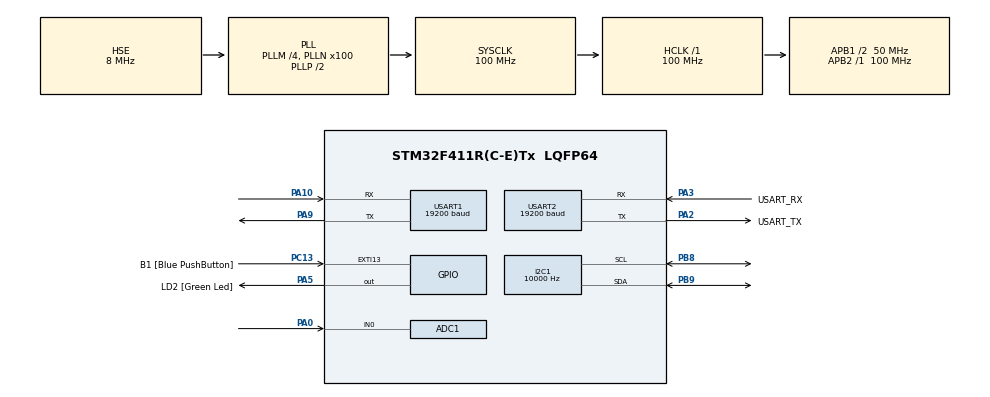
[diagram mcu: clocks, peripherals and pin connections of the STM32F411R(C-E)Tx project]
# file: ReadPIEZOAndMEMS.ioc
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ADC1.Channel-0\#ChannelRegularConversion=ADC_CHANNEL_0
ADC1.ContinuousConvMode=ENABLE
ADC1.DMAContinuousRequests=ENABLE
ADC1.ExternalTrigConv=ADC_EXTERNALTRIGCONV_T2_TRGO
ADC1.NbrOfConversionFlag=1
ADC1.Rank-0\#ChannelRegularConversion=1
ADC1.SamplingTime-0\#ChannelRegularConversion=ADC_SAMPLETIME_3CYCLES
ADC1.ScanConvMode=ENABLE
ADC1.master=1
ARM.CMSIS-DSP.1.15.0.CMSISJjDSP=Source
ARM.CMSIS.6.0.0.CMSISJjCORE=true
Dma.ADC1.0.Direction=DMA_PERIPH_TO_MEMORY
Dma.ADC1.0.FIFOMode=DMA_FIFOMODE_DISABLE
Dma.ADC1.0.Instance=DMA2_Stream0
Dma.ADC1.0.MemDataAlignment=DMA_MDATAALIGN_HALFWORD
Dma.ADC1.0.MemInc=DMA_MINC_ENABLE
Dma.ADC1.0.Mode=DMA_CIRCULAR
Dma.ADC1.0.PeriphDataAlignment=DMA_PDATAALIGN_HALFWORD
Dma.ADC1.0.PeriphInc=DMA_PINC_DISABLE
Dma.ADC1.0.Priority=DMA_PRIORITY_LOW
Dma.Request0=ADC1
Dma.Request1=USART1_TX
Dma.Request2=USART2_TX
Dma.Request3=USART2_RX
Dma.USART1_TX.1.Direction=DMA_MEMORY_TO_PERIPH
Dma.USART1_TX.1.FIFOMode=DMA_FIFOMODE_DISABLE
Dma.USART1_TX.1.Instance=DMA2_Stream7
Dma.USART1_TX.1.MemDataAlignment=DMA_MDATAALIGN_BYTE
Dma.USART1_TX.1.MemInc=DMA_MINC_ENABLE
Dma.USART1_TX.1.Mode=DMA_NORMAL
Dma.USART1_TX.1.PeriphDataAlignment=DMA_PDATAALIGN_BYTE
Dma.USART1_TX.1.PeriphInc=DMA_PINC_DISABLE
Dma.USART1_TX.1.Priority=DMA_PRIORITY_LOW
Dma.USART2_RX.3.Direction=DMA_PERIPH_TO_MEMORY
Dma.USART2_RX.3.FIFOMode=DMA_FIFOMODE_DISABLE
Dma.USART2_RX.3.Instance=DMA1_Stream5
Dma.USART2_RX.3.MemDataAlignment=DMA_MDATAALIGN_BYTE
Dma.USART2_RX.3.MemInc=DMA_MINC_ENABLE
Dma.USART2_RX.3.Mode=DMA_NORMAL
Dma.USART2_RX.3.PeriphDataAlignment=DMA_PDATAALIGN_BYTE
Dma.USART2_RX.3.PeriphInc=DMA_PINC_DISABLE
Dma.USART2_RX.3.Priority=DMA_PRIORITY_LOW
Dma.USART2_TX.2.Direction=DMA_MEMORY_TO_PERIPH
Dma.USART2_TX.2.FIFOMode=DMA_FIFOMODE_DISABLE
Dma.USART2_TX.2.Instance=DMA1_Stream6
Dma.USART2_TX.2.MemDataAlignment=DMA_MDATAALIGN_BYTE
Dma.USART2_TX.2.MemInc=DMA_MINC_ENABLE
Dma.USART2_TX.2.Mode=DMA_NORMAL
Dma.USART2_TX.2.PeriphDataAlignment=DMA_PDATAALIGN_BYTE
Dma.USART2_TX.2.PeriphInc=DMA_PINC_DISABLE
Dma.USART2_TX.2.Priority=DMA_PRIORITY_LOW
I2C1.ClockSpeed=10000
Mcu.Family=STM32F4
Mcu.Name=STM32F411R(C-E)Tx
Mcu.Package=LQFP64
NVIC.DMA1_Stream5_IRQn=true\:0\:0\:false\:false\:true\:false\:true\:true
NVIC.DMA1_Stream6_IRQn=true\:0\:0\:false\:false\:true\:false\:true\:true
NVIC.DMA2_Stream0_IRQn=true\:0\:0\:false\:false\:true\:false\:true\:true
NVIC.DMA2_Stream7_IRQn=true\:0\:0\:false\:false\:true\:false\:true\:true
NVIC.I2C1_ER_IRQn=true\:0\:0\:false\:false\:true\:true\:true\:true
NVIC.I2C1_EV_IRQn=true\:0\:0\:false\:false\:true\:true\:true\:true
NVIC.PriorityGroup=NVIC_PRIORITYGROUP_0
NVIC.TIM1_TRG_COM_TIM11_IRQn=true\:0\:0\:false\:false\:true\:true\:true\:true
NVIC.TIM2_IRQn=true\:0\:0\:false\:false\:true\:true\:true\:true
NVIC.USART1_IRQn=true\:0\:0\:false\:false\:true\:true\:true\:true
NVIC.USART2_IRQn=true\:0\:0\:false\:false\:true\:true\:true\:true
PA0-WKUP.Signal=ADCx_IN0
PA10.Mode=Asynchronous
PA10.Signal=USART1_RX
PA13.GPIO_Label=TMS
PA13.Mode=Serial_Wire
PA13.Signal=SYS_JTMS-SWDIO
PA14.GPIO_Label=TCK
PA14.Mode=Serial_Wire
PA14.Signal=SYS_JTCK-SWCLK
PA2.GPIO_Label=USART_TX
PA2.Mode=Asynchronous
PA2.Signal=USART2_TX
PA3.GPIO_Label=USART_RX
PA3.Mode=Asynchronous
PA3.Signal=USART2_RX
PA5.GPIO_Label=LD2 [Green Led]
PA5.Signal=GPIO_Output
PA9.Mode=Asynchronous
PA9.Signal=USART1_TX
PB3.GPIO_Label=SWO
PB3.Signal=SYS_JTDO-SWO
PB8.Mode=I2C
PB8.Signal=I2C1_SCL
PB9.Mode=I2C
PB9.Signal=I2C1_SDA
PC13-ANTI_TAMP.GPIO_Label=B1 [Blue PushButton]
PC13-ANTI_TAMP.GPIO_ModeDefaultEXTI=GPIO_MODE_IT_FALLING
PC13-ANTI_TAMP.Signal=GPXTI13
PC14-OSC32_IN.Mode=LSE-External-Oscillator
PC14-OSC32_IN.Signal=RCC_OSC32_IN
PC15-OSC32_OUT.Mode=LSE-External-Oscillator
PC15-OSC32_OUT.Signal=RCC_OSC32_OUT
PH0\ -\ OSC_IN.Mode=HSE-External-Clock-Source
PH0\ -\ OSC_IN.Signal=RCC_OSC_IN
PH1\ -\ OSC_OUT.Mode=HSE-External-Clock-Source
PH1\ -\ OSC_OUT.Signal=RCC_OSC_OUT
ProjectManager.HeapSize=0x200
ProjectManager.StackSize=0x400
ProjectManager.TargetToolchain=STM32CubeIDE
RCC.48MHZClocksFreq_Value=50000000
RCC.AHBFreq_Value=100000000
RCC.APB1CLKDivider=RCC_HCLK_DIV2
RCC.APB1Freq_Value=50000000
RCC.APB1TimFreq_Value=100000000
RCC.APB2Freq_Value=100000000
RCC.APB2TimFreq_Value=100000000
RCC.CortexFreq_Value=100000000
RCC.FLatency-AdvancedSettings=FLASH_LATENCY_3
RCC.HCLKFreq_Value=100000000
RCC.HSE_VALUE=8000000
RCC.HSI_VALUE=16000000
RCC.PLLM=4
RCC.PLLN=100
RCC.PLLSourceVirtual=RCC_PLLSOURCE_HSE
RCC.SYSCLKFreq_VALUE=100000000
RCC.SYSCLKSource=RCC_SYSCLKSOURCE_PLLCLK
RCC.VCOOutputFreq_Value=200000000
SH.ADCx_IN0.0=ADC1_IN0,IN0
TIM11.Channel=TIM_CHANNEL_1
TIM11.OCMode_1=TIM_OCMODE_ACTIVE
TIM11.Period=2005
TIM11.Prescaler=99
TIM11.Pulse=1433
TIM2.Period=1000
TIM2.Prescaler=99
TIM2.TIM_MasterOutputTrigger=TIM_TRGO_UPDATE
TIM3.Period=65535
TIM3.Prescaler=0
TIM3.TIM_MasterOutputTrigger=TIM_TRGO_UPDATE
USART1.BaudRate=19200
USART1.VirtualMode=VM_ASYNC
USART2.BaudRate=19200
USART2.VirtualMode=VM_ASYNC
VP_ARM.CMSIS-DSP_VS_CMSISJjDSP_1.15.0_1.15.0.Mode=CMSISJjDSP
VP_ARM.CMSIS_VS_CMSISJjCORE_6.0.0_6.0.0.Mode=CMSISJjCORE
VP_TIM11_VS_ClockSourceINT.Mode=Enable_Timer
VP_TIM11_VS_OPM.Mode=OPM_bit
VP_TIM11_VS_no_output1.Mode=Output Compare1 No Output
VP_TIM2_VS_ClockSourceINT.Mode=Internal
VP_TIM3_VS_ClockSourceINT.Mode=Internal
board=NUCLEO-F411RE

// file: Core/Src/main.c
/* USER CODE BEGIN Header */
/**
 ******************************************************************************
 * @file           : main.c
 * @brief          : Main program body
 ******************************************************************************
 * @attention
 *
 * Copyright (c) 2024 STMicroelectronics.
 * All rights reserved.
 *
 * This software is licensed under terms that can be found in the LICENSE file
 * in the root directory of this software component.
 * If no LICENSE file comes with this software, it is provided AS-IS.
 *
 ******************************************************************************
 */
/* USER CODE END Header */
#include "main.h"

/* USER CODE BEGIN Includes */
#include "arm_math.h"
#include "stdio.h"
#include "ModBusRTU.h"
//#include "ModBusRTU.h"
/* USER CODE END Includes */

ADC_HandleTypeDef hadc1;
DMA_HandleTypeDef hdma_adc1;

I2C_HandleTypeDef hi2c1;

TIM_HandleTypeDef htim2;
TIM_HandleTypeDef htim3;
TIM_HandleTypeDef htim11;

UART_HandleTypeDef huart1;
UART_HandleTypeDef huart2;
DMA_HandleTypeDef hdma_usart1_tx;
DMA_HandleTypeDef hdma_usart2_tx;
DMA_HandleTypeDef hdma_usart2_rx;

/* USER CODE BEGIN PV */

// ModbusRTU
ModbusHandleTypedef hmodbus;
u16u8_t registerFrame[200];

// FFT
#define FFT_SIZE 4096
uint16_t buffer_input[FFT_SIZE * 2];
uint16_t Buffer_index = 0;
float rfft_signal[FFT_SIZE * 2];
float magnitude_signal[FFT_SIZE];
float maxValue = 0;
float freq = 0;
uint32_t maxIndex;

uint8_t flag = 0;

//arm_rfft_fast_instance_f32 fftConfig;
arm_rfft_instance_q15 fftConfig;
arm_rfft_fast_instance_f32 fft;

// Read Data from Piezo
typedef struct {
	ADC_ChannelConfTypeDef Config;
	float32_t data;
} ADCStrcuture;
ADCStrcuture ADCChannel[1];

// I2C for read ADXL346
#define ADXL346_ADDR 0x53

uint8_t buf[6];
static uint8_t sdata[1] = { 0x08 };
float acceleration_x;
float acceleration_y;
float acceleration_z;

//static uint16_t offsetdata[1] = {0xFFC6};
uint8_t ADXL_Add = 0b10100110;
uint8_t dataReadAcc = 0;

/* USER CODE END PV */

void SystemClock_Config(void);
static void MX_GPIO_Init(void);
static void MX_DMA_Init(void);
static void MX_ADC1_Init(void);
static void MX_I2C1_Init(void);
static void MX_TIM3_Init(void);
static void MX_TIM11_Init(void);
static void MX_TIM2_Init(void);
static void MX_USART1_UART_Init(void);
static void MX_USART2_UART_Init(void);
/* USER CODE BEGIN PFP */
void requestMEMS(uint8_t *Rdata, uint16_t len, uint8_t regAdd);

/* USER CODE END PFP */

int main(void)
{

  /* MCU Configuration--------------------------------------------------------*/

  /* Reset of all peripherals, Initializes the Flash interface and the Systick. */
  HAL_Init();

  /* Configure the system clock */
  SystemClock_Config();

  /* Initialize all configured peripherals */
  MX_GPIO_Init();
  MX_DMA_Init();
  MX_ADC1_Init();
  MX_I2C1_Init();
  MX_TIM3_Init();
  MX_TIM11_Init();
  MX_TIM2_Init();
  MX_USART1_UART_Init();
  MX_USART2_UART_Init();
  /* USER CODE BEGIN 2 */

	// Modbus Initial
	hmodbus.huart = &huart2;
	hmodbus.htim = &htim11;
	hmodbus.slaveAddress = 0x01;
	hmodbus.RegisterSize = 200;
	Modbus_init(&hmodbus, registerFrame);

	arm_rfft_init_q15(&fftConfig, FFT_SIZE, 0, 0);
	arm_rfft_fast_init_f32(&fft, FFT_SIZE);
	HAL_ADC_Start_DMA(&hadc1, (uint32_t*) buffer_input, FFT_SIZE * 2);
	HAL_TIM_Base_Start(&htim3);
	HAL_TIM_Base_Start(&htim2);
	HAL_UART_Init(&huart1);
  /* USER CODE END 2 */

  /* Infinite loop */
	while (1) {

    /* USER CODE BEGIN 3 */
		// Modbus
		Modbus_Protocal_Worker();

		// Read ADC Polling (TEST PIEZO)
		uint32_t Tim = HAL_GetTick();
		static uint32_t tick = 1;
		if (Tim > tick) {

			// ADXL
			HAL_I2C_Mem_Write(&hi2c1, ADXL346_ADDR << 1, 0x2D,
			I2C_MEMADD_SIZE_8BIT, (uint8_t*) "\x08", 1, HAL_MAX_DELAY);

			HAL_I2C_Mem_Read(&hi2c1, ADXL346_ADDR << 1, 0x32,
			I2C_MEMADD_SIZE_8BIT, buf, 6, HAL_MAX_DELAY);

			int16_t x = (buf[1] << 8) | buf[0];
			int16_t y = (buf[3] << 8) | buf[2];
			int16_t z = (buf[5] << 8) | buf[4];

			acceleration_x = x * 0.00390625;
			acceleration_y = y * 0.00390625;
			acceleration_z = z * 0.00390625;
//			requestMEMS(dataReadAcc[1], 3, 0x34);
//			requestMEMS(dataReadAcc, 3, 0x36);

// FFT
			if (flag == 2) {
				static float stackPIEZO[FFT_SIZE];

				for (int i = 0; i < FFT_SIZE; i++) {
					stackPIEZO[i] = (buffer_input[i] - (FFT_SIZE * 2)) * 1.0;
				}

				arm_rfft_fast_f32(&fft, stackPIEZO, rfft_signal, 0);
				arm_cmplx_mag_f32(rfft_signal, magnitude_signal,
				FFT_SIZE / 2);
				arm_max_f32(magnitude_signal + 1, ((FFT_SIZE / 2) - 1),
						&maxValue, &maxIndex);
				freq = ((maxIndex) * (1000.0 / 4096.0));
				flag = 0;
			}

			tick = Tim + 10;
		}
	}
  /* USER CODE END 3 */
}

void SystemClock_Config(void)
{
  RCC_OscInitTypeDef RCC_OscInitStruct = {0};
  RCC_ClkInitTypeDef RCC_ClkInitStruct = {0};

  /** Configure the main internal regulator output voltage
  */
  __HAL_RCC_PWR_CLK_ENABLE();
  __HAL_PWR_VOLTAGESCALING_CONFIG(PWR_REGULATOR_VOLTAGE_SCALE1);

  /** Initializes the RCC Oscillators according to the specified parameters
  * in the RCC_OscInitTypeDef structure.
  */
  RCC_OscInitStruct.OscillatorType = RCC_OSCILLATORTYPE_HSE;
  RCC_OscInitStruct.HSEState = RCC_HSE_BYPASS;
  RCC_OscInitStruct.PLL.PLLState = RCC_PLL_ON;
  RCC_OscInitStruct.PLL.PLLSource = RCC_PLLSOURCE_HSE;
  RCC_OscInitStruct.PLL.PLLM = 4;
  RCC_OscInitStruct.PLL.PLLN = 100;
  RCC_OscInitStruct.PLL.PLLP = RCC_PLLP_DIV2;
  RCC_OscInitStruct.PLL.PLLQ = 4;
  if (HAL_RCC_OscConfig(&RCC_OscInitStruct) != HAL_OK)
  {
    Error_Handler();
  }

  /** Initializes the CPU, AHB and APB buses clocks
  */
  RCC_ClkInitStruct.ClockType = RCC_CLOCKTYPE_HCLK|RCC_CLOCKTYPE_SYSCLK
                              |RCC_CLOCKTYPE_PCLK1|RCC_CLOCKTYPE_PCLK2;
  RCC_ClkInitStruct.SYSCLKSource = RCC_SYSCLKSOURCE_PLLCLK;
  RCC_ClkInitStruct.AHBCLKDivider = RCC_SYSCLK_DIV1;
  RCC_ClkInitStruct.APB1CLKDivider = RCC_HCLK_DIV2;
  RCC_ClkInitStruct.APB2CLKDivider = RCC_HCLK_DIV1;

  if (HAL_RCC_ClockConfig(&RCC_ClkInitStruct, FLASH_LATENCY_3) != HAL_OK)
  {
    Error_Handler();
  }
}

static void MX_ADC1_Init(void)
{

  ADC_ChannelConfTypeDef sConfig = {0};

  /** Configure the global features of the ADC (Clock, Resolution, Data Alignment and number of conversion)
  */
  hadc1.Instance = ADC1;
  hadc1.Init.ClockPrescaler = ADC_CLOCK_SYNC_PCLK_DIV4;
  hadc1.Init.Resolution = ADC_RESOLUTION_12B;
  hadc1.Init.ScanConvMode = ENABLE;
  hadc1.Init.ContinuousConvMode = ENABLE;
  hadc1.Init.DiscontinuousConvMode = DISABLE;
  hadc1.Init.ExternalTrigConvEdge = ADC_EXTERNALTRIGCONVEDGE_RISING;
  hadc1.Init.ExternalTrigConv = ADC_EXTERNALTRIGCONV_T2_TRGO;
  hadc1.Init.DataAlign = ADC_DATAALIGN_RIGHT;
  hadc1.Init.NbrOfConversion = 1;
  hadc1.Init.DMAContinuousRequests = ENABLE;
  hadc1.Init.EOCSelection = ADC_EOC_SINGLE_CONV;
  if (HAL_ADC_Init(&hadc1) != HAL_OK)
  {
    Error_Handler();
  }

  /** Configure for the selected ADC regular channel its corresponding rank in the sequencer and its sample time.
  */
  sConfig.Channel = ADC_CHANNEL_0;
  sConfig.Rank = 1;
  sConfig.SamplingTime = ADC_SAMPLETIME_3CYCLES;
  if (HAL_ADC_ConfigChannel(&hadc1, &sConfig) != HAL_OK)
  {
    Error_Handler();
  }

}

static void MX_I2C1_Init(void)
{

  hi2c1.Instance = I2C1;
  hi2c1.Init.ClockSpeed = 10000;
  hi2c1.Init.DutyCycle = I2C_DUTYCYCLE_2;
  hi2c1.Init.OwnAddress1 = 0;
  hi2c1.Init.AddressingMode = I2C_ADDRESSINGMODE_7BIT;
  hi2c1.Init.DualAddressMode = I2C_DUALADDRESS_DISABLE;
  hi2c1.Init.OwnAddress2 = 0;
  hi2c1.Init.GeneralCallMode = I2C_GENERALCALL_DISABLE;
  hi2c1.Init.NoStretchMode = I2C_NOSTRETCH_DISABLE;
  if (HAL_I2C_Init(&hi2c1) != HAL_OK)
  {
    Error_Handler();
  }

}

static void MX_TIM2_Init(void)
{

  TIM_ClockConfigTypeDef sClockSourceConfig = {0};
  TIM_MasterConfigTypeDef sMasterConfig = {0};

  htim2.Instance = TIM2;
  htim2.Init.Prescaler = 99;
  htim2.Init.CounterMode = TIM_COUNTERMODE_UP;
  htim2.Init.Period = 1000;
  htim2.Init.ClockDivision = TIM_CLOCKDIVISION_DIV1;
  htim2.Init.AutoReloadPreload = TIM_AUTORELOAD_PRELOAD_DISABLE;
  if (HAL_TIM_Base_Init(&htim2) != HAL_OK)
  {
    Error_Handler();
  }
  sClockSourceConfig.ClockSource = TIM_CLOCKSOURCE_INTERNAL;
  if (HAL_TIM_ConfigClockSource(&htim2, &sClockSourceConfig) != HAL_OK)
  {
    Error_Handler();
  }
  sMasterConfig.MasterOutputTrigger = TIM_TRGO_UPDATE;
  sMasterConfig.MasterSlaveMode = TIM_MASTERSLAVEMODE_DISABLE;
  if (HAL_TIMEx_MasterConfigSynchronization(&htim2, &sMasterConfig) != HAL_OK)
  {
    Error_Handler();
  }

}

static void MX_TIM3_Init(void)
{

  TIM_ClockConfigTypeDef sClockSourceConfig = {0};
  TIM_MasterConfigTypeDef sMasterConfig = {0};

  htim3.Instance = TIM3;
  htim3.Init.Prescaler = 0;
  htim3.Init.CounterMode = TIM_COUNTERMODE_UP;
  htim3.Init.Period = 65535;
  htim3.Init.ClockDivision = TIM_CLOCKDIVISION_DIV1;
  htim3.Init.AutoReloadPreload = TIM_AUTORELOAD_PRELOAD_DISABLE;
  if (HAL_TIM_Base_Init(&htim3) != HAL_OK)
  {
    Error_Handler();
  }
  sClockSourceConfig.ClockSource = TIM_CLOCKSOURCE_INTERNAL;
  if (HAL_TIM_ConfigClockSource(&htim3, &sClockSourceConfig) != HAL_OK)
  {
    Error_Handler();
  }
  sMasterConfig.MasterOutputTrigger = TIM_TRGO_UPDATE;
  sMasterConfig.MasterSlaveMode = TIM_MASTERSLAVEMODE_DISABLE;
  if (HAL_TIMEx_MasterConfigSynchronization(&htim3, &sMasterConfig) != HAL_OK)
  {
    Error_Handler();
  }

}

static void MX_TIM11_Init(void)
{

  TIM_OC_InitTypeDef sConfigOC = {0};

  htim11.Instance = TIM11;
  htim11.Init.Prescaler = 99;
  htim11.Init.CounterMode = TIM_COUNTERMODE_UP;
  htim11.Init.Period = 2005;
  htim11.Init.ClockDivision = TIM_CLOCKDIVISION_DIV1;
  htim11.Init.AutoReloadPreload = TIM_AUTORELOAD_PRELOAD_DISABLE;
  if (HAL_TIM_Base_Init(&htim11) != HAL_OK)
  {
    Error_Handler();
  }
  if (HAL_TIM_OC_Init(&htim11) != HAL_OK)
  {
    Error_Handler();
  }
  if (HAL_TIM_OnePulse_Init(&htim11, TIM_OPMODE_SINGLE) != HAL_OK)
  {
    Error_Handler();
  }
  sConfigOC.OCMode = TIM_OCMODE_ACTIVE;
  sConfigOC.Pulse = 1433;
  sConfigOC.OCPolarity = TIM_OCPOLARITY_HIGH;
  sConfigOC.OCFastMode = TIM_OCFAST_DISABLE;
  if (HAL_TIM_OC_ConfigChannel(&htim11, &sConfigOC, TIM_CHANNEL_1) != HAL_OK)
  {
    Error_Handler();
  }

}

static void MX_USART1_UART_Init(void)
{

  huart1.Instance = USART1;
  huart1.Init.BaudRate = 19200;
  huart1.Init.WordLength = UART_WORDLENGTH_8B;
  huart1.Init.StopBits = UART_STOPBITS_1;
  huart1.Init.Parity = UART_PARITY_NONE;
  huart1.Init.Mode = UART_MODE_TX_RX;
  huart1.Init.HwFlowCtl = UART_HWCONTROL_NONE;
  huart1.Init.OverSampling = UART_OVERSAMPLING_16;
  if (HAL_UART_Init(&huart1) != HAL_OK)
  {
    Error_Handler();
  }

}

static void MX_USART2_UART_Init(void)
{

  huart2.Instance = USART2;
  huart2.Init.BaudRate = 19200;
  huart2.Init.WordLength = UART_WORDLENGTH_8B;
  huart2.Init.StopBits = UART_STOPBITS_1;
  huart2.Init.Parity = UART_PARITY_NONE;
  huart2.Init.Mode = UART_MODE_TX_RX;
  huart2.Init.HwFlowCtl = UART_HWCONTROL_NONE;
  huart2.Init.OverSampling = UART_OVERSAMPLING_16;
  if (HAL_UART_Init(&huart2) != HAL_OK)
  {
    Error_Handler();
  }

}

static void MX_DMA_Init(void)
{

  /* DMA controller clock enable */
  __HAL_RCC_DMA2_CLK_ENABLE();
  __HAL_RCC_DMA1_CLK_ENABLE();

  /* DMA interrupt init */
  /* DMA1_Stream5_IRQn interrupt configuration */
  HAL_NVIC_SetPriority(DMA1_Stream5_IRQn, 0, 0);
  HAL_NVIC_EnableIRQ(DMA1_Stream5_IRQn);
  /* DMA1_Stream6_IRQn interrupt configuration */
  HAL_NVIC_SetPriority(DMA1_Stream6_IRQn, 0, 0);
  HAL_NVIC_EnableIRQ(DMA1_Stream6_IRQn);
  /* DMA2_Stream0_IRQn interrupt configuration */
  HAL_NVIC_SetPriority(DMA2_Stream0_IRQn, 0, 0);
  HAL_NVIC_EnableIRQ(DMA2_Stream0_IRQn);
  /* DMA2_Stream7_IRQn interrupt configuration */
  HAL_NVIC_SetPriority(DMA2_Stream7_IRQn, 0, 0);
  HAL_NVIC_EnableIRQ(DMA2_Stream7_IRQn);

}

static void MX_GPIO_Init(void)
{
  GPIO_InitTypeDef GPIO_InitStruct = {0};

  /* GPIO Ports Clock Enable */
  __HAL_RCC_GPIOC_CLK_ENABLE();
  __HAL_RCC_GPIOH_CLK_ENABLE();
  __HAL_RCC_GPIOA_CLK_ENABLE();
  __HAL_RCC_GPIOB_CLK_ENABLE();

  /*Configure GPIO pin Output Level */
  HAL_GPIO_WritePin(LD2_GPIO_Port, LD2_Pin, GPIO_PIN_RESET);

  /*Configure GPIO pin : B1_Pin */
  GPIO_InitStruct.Pin = B1_Pin;
  GPIO_InitStruct.Mode = GPIO_MODE_IT_FALLING;
  GPIO_InitStruct.Pull = GPIO_NOPULL;
  HAL_GPIO_Init(B1_GPIO_Port, &GPIO_InitStruct);

  /*Configure GPIO pin : LD2_Pin */
  GPIO_InitStruct.Pin = LD2_Pin;
  GPIO_InitStruct.Mode = GPIO_MODE_OUTPUT_PP;
  GPIO_InitStruct.Pull = GPIO_NOPULL;
  GPIO_InitStruct.Speed = GPIO_SPEED_FREQ_LOW;
  HAL_GPIO_Init(LD2_GPIO_Port, &GPIO_InitStruct);

}

/* USER CODE BEGIN 4 */

void requestMEMS(uint8_t *Rdata, uint16_t len, uint8_t regAdd) {
//	HAL_I2C_Mem_Write_IT(&hi2c1, ADXL_Add, 0x20, I2C_MEMADD_SIZE_8BIT, offsetdata, 1);
	if (hi2c1.State == HAL_I2C_STATE_READY) {
		HAL_I2C_Mem_Write_IT(&hi2c1, ADXL_Add, 0x2D, I2C_MEMADD_SIZE_8BIT,
				sdata, 1);
		HAL_I2C_Mem_Read_IT(&hi2c1, ADXL_Add, regAdd, I2C_MEMADD_SIZE_8BIT,
				Rdata, len);
	}
}

void HAL_ADC_ConvCpltCallback(ADC_HandleTypeDef *hadc) {
	//Buffer_index = (Buffer_index + 1) % 100;
	flag = 1;
}
void HAL_ADC_ConvHalfCpltCallback(ADC_HandleTypeDef *hadc) {
	//Buffer_index = (Buffer_index + 1) % 100;
	flag = 2;
}

/* USER CODE END 4 */

void Error_Handler(void)
{
	__disable_irq();
	while (1) {
	}
}
